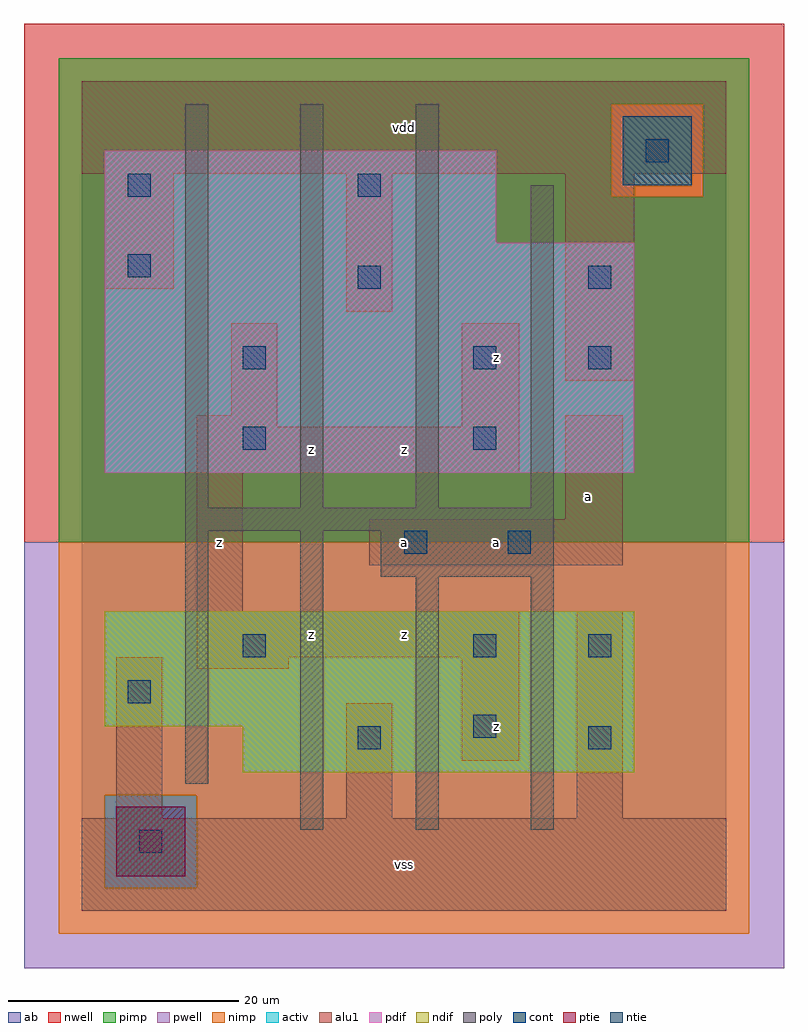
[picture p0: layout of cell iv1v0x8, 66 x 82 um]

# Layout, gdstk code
import gdstk
lib = gdstk.Library(unit=1e-6, precision=1e-09)
def R(c, l, rs):  # rectangles x0, y0, x1, y1
    for r in rs: c.add(gdstk.rectangle(r[:2], r[2:], *l))
def A(c, l, x, y, w, h, nx, ny, dx, dy):  # array of equal rectangles
    R(c, l, [(x+i*dx, y+j*dy, x+i*dx+w, y+j*dy+h) for i in range(nx) for j in range(ny)])
ndif = (3, 0)
pdif = (4, 0)
ntie = (5, 0)
ptie = (6, 0)
cont = (25, 0)
pwell = (41, 0)
nwell = (42, 0)
activ = (43, 0)
pimp = (44, 0)
nimp = (45, 0)
poly = (46, 0)
alu1 = (49, 0)
ab = (63, 0)

iv1v0x8 = lib.new_cell('iv1v0x8')
R(iv1v0x8, ndif, [(14,12,48,16), (2,16,48,26)])
R(iv1v0x8, pdif, [(2,38,48,58), (2,58,36,66)])
R(iv1v0x8, ntie, [(47,63,53,69)])
R(iv1v0x8, ptie, [(3,3,9,9)])
R(iv1v0x8, cont, [(5,5,7,7), (24,14,26,16), (44,14,46,16), (34,15,36,17), (4,18,6,20), (14,22,16,24), (34,22,36,24), (44,22,46,24), (28,31,30,33), (37,31,39,33), (14,40,16,42), (34,40,36,42), (14,47,16,49), (34,47,36,49), (44,47,46,49), (24,54,26,56), (44,54,46,56), (4,55,6,57), (4,62,6,64), (24,62,26,64), (49,65,51,67)])
R(iv1v0x8, pwell, [(-5,-5,61,32)])
R(iv1v0x8, nwell, [(-5,32,61,77)])
R(iv1v0x8, activ, [(3,3,9,9), (14,12,48,16), (2,16,48,26), (2,38,48,58), (2,58,36,66), (47,63,53,69)])
R(iv1v0x8, pimp, [(2,2,10,10), (-2,32,58,62), (-2,62,46,70), (54,62,58,70), (-2,70,58,74)])
R(iv1v0x8, nimp, [(-2,-2,58,2), (-2,2,2,10), (10,2,58,10), (-2,10,58,32), (46,62,54,70)])
A(iv1v0x8, poly, 9, 35, 2, 35, 3, 1, 10, 0)
R(iv1v0x8, poly, [(19,7,21,33), (29,7,31,29), (39,7,41,29), (9,11,11,33), (26,29,41,33), (9,33,41,35), (39,35,41,63)])
R(iv1v0x8, alu1, [(0,0,56,8), (3,8,7,22), (23,8,27,18), (43,8,47,26), (33,13,38,22), (10,21,18,22), (10,22,38,26), (10,26,14,38), (25,30,47,34), (42,34,47,43), (10,38,38,42), (10,42,17,43), (33,42,38,51), (13,43,17,51), (42,46,48,64), (23,52,27,64), (2,54,8,64), (0,64,56,72)])
R(iv1v0x8, ab, [(0,0,56,72)])
iv1v0x8.add(gdstk.Label('z', (12,32), layer=49, texttype=0))
iv1v0x8.add(gdstk.Label('z', (20,24), layer=49, texttype=0))
iv1v0x8.add(gdstk.Label('z', (20,40), layer=49, texttype=0))
iv1v0x8.add(gdstk.Label('vss', (28,4), layer=49, texttype=0))
iv1v0x8.add(gdstk.Label('z', (36,16), layer=49, texttype=0))
iv1v0x8.add(gdstk.Label('z', (28,24), layer=49, texttype=0))
iv1v0x8.add(gdstk.Label('a', (28,32), layer=49, texttype=0))
iv1v0x8.add(gdstk.Label('a', (36,32), layer=49, texttype=0))
iv1v0x8.add(gdstk.Label('z', (28,40), layer=49, texttype=0))
iv1v0x8.add(gdstk.Label('z', (36,48), layer=49, texttype=0))
iv1v0x8.add(gdstk.Label('vdd', (28,68), layer=49, texttype=0))
iv1v0x8.add(gdstk.Label('a', (44,36), layer=49, texttype=0))

lib.write_gds('iv1v0x8.gds')
